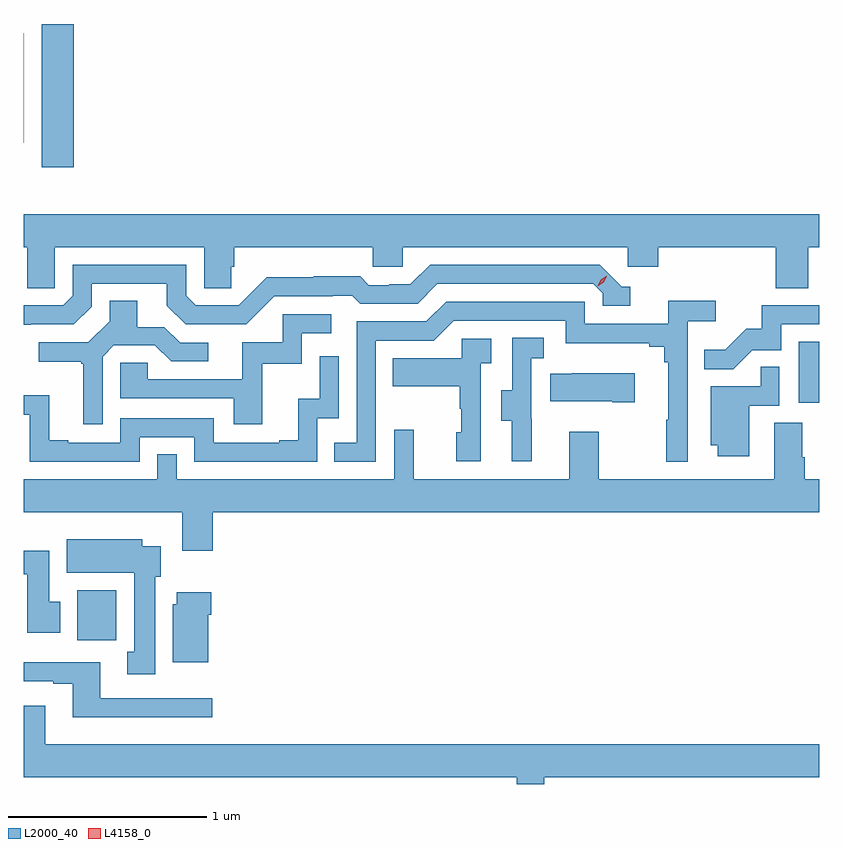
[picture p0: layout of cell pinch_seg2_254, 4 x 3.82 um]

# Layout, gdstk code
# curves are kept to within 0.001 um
import gdstk
lib = gdstk.Library(unit=1e-6, precision=1e-09)
def R(c, l, rs):  # rectangles x0, y0, x1, y1
    for r in rs: c.add(gdstk.rectangle(r[:2], r[2:], *l))
def P(c, l, *ps):  # polygons
    for p in ps: c.add(gdstk.Polygon(p, *l))
L2000_40 = (2000, 40)
L4158_0 = (4158, 0)

pinch_seg2_254 = lib.new_cell('pinch_seg2_254')
R(pinch_seg2_254, L2000_40, [(914.537,653.652,914.733,653.902), (918.164,654.846,918.267,655.153), (914.357,656.028,914.518,656.749), (914.267,656.151,914.268,656.702)])
P(pinch_seg2_254, L2000_40, [(914.424,655.628),(915.174,655.628),(915.174,655.42),(915.311,655.42),(915.311,655.53),(915.326,655.53),(915.326,655.628),(916.023,655.628),(916.023,655.53),(916.173,655.53),(916.173,655.628),(917.304,655.628),(917.304,655.53),(917.456,655.53),(917.456,655.628),(918.047,655.628),(918.047,655.42),(918.212,655.42),(918.212,655.628),(918.267,655.628),(918.267,655.792),(914.267,655.792),(914.267,655.628),(914.285,655.628),(914.285,655.42),(914.424,655.42)],
  [(914.304,655.239),(914.52,655.239),(914.61,655.329),(914.61,655.443),(914.987,655.443),(914.987,655.333),(915.081,655.239),(915.387,655.239),(915.528,655.38),(915.821,655.38),(915.821,655.383),(915.92,655.383),(915.959,655.344),(916.248,655.344),(916.347,655.443),(917.13,655.443),(917.178,655.395),(917.178,655.332),(917.317,655.332),(917.317,655.428),(917.274,655.428),(917.163,655.539),(916.31,655.539),(916.211,655.44),(916.104,655.44),(916.104,655.437),(916.001,655.437),(915.959,655.48),(915.726,655.48),(915.726,655.477),(915.49,655.477),(915.348,655.335),(915.132,655.335),(915.084,655.383),(915.084,655.539),(914.514,655.539),(914.514,655.383),(914.466,655.335),(914.267,655.335),(914.267,655.238)],
  [(916.038,655.158),(916.329,655.158),(916.428,655.257),(916.992,655.257),(916.992,655.145),(917.411,655.145),(917.411,655.126),(917.488,655.126),(917.488,655.049),(917.507,655.049),(917.507,654.761),(917.496,654.761),(917.496,654.549),(917.604,654.549),(917.604,655.256),(917.746,655.256),(917.746,655.358),(917.507,655.358),(917.507,655.242),(917.088,655.242),(917.088,655.353),(916.391,655.353),(916.292,655.254),(915.942,655.254),(915.942,654.645),(915.829,654.645),(915.829,654.549),(916.038,654.549)],
  [(914.664,655.077),(914.721,655.134),(914.927,655.134),(915.008,655.053),(915.196,655.053),(915.196,655.146),(915.054,655.146),(914.974,655.226),(914.839,655.226),(914.839,655.358),(914.699,655.358),(914.699,655.256),(914.592,655.149),(914.343,655.149),(914.343,655.052),(914.556,655.052),(914.556,655.041),(914.567,655.041),(914.567,654.738),(914.664,654.738)],
  [(917.93,655.11),(918.075,655.11),(918.075,655.239),(918.267,655.239),(918.267,655.335),(917.977,655.335),(917.977,655.218),(917.9,655.218),(917.793,655.111),(917.689,655.111),(917.689,655.013),(917.833,655.013)],
  [(915.467,655.041),(915.666,655.041),(915.666,655.194),(915.814,655.194),(915.814,655.29),(915.57,655.29),(915.57,655.149),(915.365,655.149),(915.365,654.963),(914.891,654.963),(914.891,655.047),(914.754,655.047),(914.754,654.867),(915.323,654.867),(915.323,654.738),(915.467,654.738)],
  [(916.82,654.765),(916.818,654.765),(916.818,655.069),(916.882,655.069),(916.882,655.172),(916.722,655.172),(916.722,654.909),(916.667,654.909),(916.667,654.754),(916.721,654.754),(916.721,654.552),(916.82,654.552)],
  [(916.566,655.043),(916.618,655.043),(916.618,655.167),(916.47,655.167),(916.47,655.069),(916.123,655.069),(916.123,654.929),(916.458,654.929),(916.458,654.815),(916.468,654.815),(916.468,654.696),(916.442,654.696),(916.442,654.552),(916.566,654.552)],
  [(914.85,654.672),(915.126,654.672),(915.126,654.549),(915.744,654.549),(915.744,654.768),(915.852,654.768),(915.852,655.078),(915.756,655.078),(915.756,654.866),(915.647,654.866),(915.647,654.658),(915.551,654.658),(915.551,654.645),(915.222,654.645),(915.222,654.768),(914.754,654.768),(914.754,654.645),(914.491,654.645),(914.491,654.658),(914.395,654.658),(914.395,654.883),(914.267,654.883),(914.267,654.785),(914.298,654.785),(914.298,654.549),(914.85,654.549)],
  [(917.914,654.831),(918.066,654.831),(918.066,655.025),(917.971,655.025),(917.971,654.927),(917.72,654.927),(917.72,654.632),(917.756,654.632),(917.756,654.576),(917.914,654.576)],
  [(917.338,654.994),(917.023,654.994),(917.023,654.991),(916.915,654.991),(916.915,654.854),(917.225,654.854),(917.225,654.847),(917.338,654.847)],
  [(915.218,654.296),(918.267,654.296),(918.267,654.46),(918.194,654.46),(918.194,654.572),(918.181,654.572),(918.181,654.746),(918.041,654.746),(918.041,654.46),(917.157,654.46),(917.157,654.7),(917.009,654.7),(917.009,654.46),(916.229,654.46),(916.229,654.709),(916.131,654.709),(916.131,654.46),(915.036,654.46),(915.036,654.587),(914.94,654.587),(914.94,654.46),(914.267,654.46),(914.267,654.296),(915.065,654.296),(915.065,654.102),(915.218,654.102)],
  [(914.929,653.97),(914.956,653.97),(914.956,654.124),(914.863,654.124),(914.863,654.16),(914.483,654.16),(914.483,653.99),(914.822,653.99),(914.822,653.593),(914.789,653.593),(914.789,653.481),(914.929,653.481)],
  [(914.452,653.844),(914.395,653.844),(914.395,654.102),(914.267,654.102),(914.267,653.984),(914.285,653.984),(914.285,653.688),(914.452,653.688)],
  [(915.196,653.78),(915.209,653.78),(915.209,653.893),(915.038,653.893),(915.038,653.832),(915.017,653.832),(915.017,653.54),(915.196,653.54)],
  [(915.214,653.361),(914.653,653.361),(914.653,653.542),(914.267,653.542),(914.267,653.445),(914.417,653.445),(914.417,653.433),(914.513,653.433),(914.513,653.264),(915.214,653.264)],
  [(916.885,652.964),(918.267,652.964),(918.267,653.128),(914.377,653.128),(914.377,653.323),(914.267,653.323),(914.267,652.964),(916.745,652.964),(916.745,652.929),(916.885,652.929)])
P(pinch_seg2_254, L4158_0, [(917.152,655.431),(917.152,655.431),(917.168,655.464),(917.198,655.484),(917.198,655.484),(917.198,655.483),(917.182,655.451),(917.152,655.431)])

lib.write_gds('pinch_seg2_254.gds')
